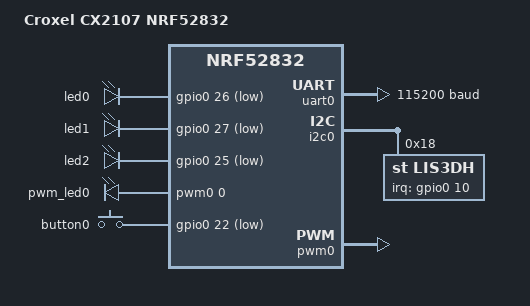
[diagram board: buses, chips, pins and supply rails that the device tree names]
/*
 * Copyright (c) 2017 Shawn Nock <shawn@monadnock.ca>
 * Copyright (c) 2017 Linaro Limited
 *
 * SPDX-License-Identifier: Apache-2.0
 */

/dts-v1/;
#include <nordic/nrf52832_qfaa.dtsi>
#include "croxel_cx2107_nrf52832-pinctrl.dtsi"
#include <zephyr/dt-bindings/input/input-event-codes.h>

/ {
	model = "Croxel CX2107 NRF52832";
	compatible = "croxel,cx2107-nrf52832";

	chosen {
		zephyr,sram = &sram0;
		zephyr,flash = &flash0;
		zephyr,code-partition = &slot0_partition;
	};

	leds {
		compatible = "gpio-leds";
		led0: led_0 {
			gpios = <&gpio0 26 GPIO_ACTIVE_LOW>;
		};
		led1: led_1 {
			gpios = <&gpio0 27 GPIO_ACTIVE_LOW>;
		};
		led2: led_2 {
			gpios = <&gpio0 25 GPIO_ACTIVE_LOW>;
		};
	};

	pwmleds {
		compatible = "pwm-leds";
		pwm_led0: pwm_led_0 {
			pwms = <&pwm0 0 PWM_MSEC(20) PWM_POLARITY_INVERTED>;
		};
	};

	buttons {
		compatible = "gpio-keys";
		button0: button_0 {
			gpios = <&gpio0 22 (GPIO_PULL_UP | GPIO_ACTIVE_LOW)>;
			zephyr,code = <INPUT_KEY_0>;
		};
	};

	/* These aliases are provided for compatibility with samples */
	aliases {
		led0 = &led0;
		led1 = &led1;
		led2 = &led2;
		pwm-led0 = &pwm_led0;
		sw0 = &button0;
		bootloader-led0 = &led0;
		mcuboot-button0 = &button0;
		mcuboot-led0 = &led0;
		watchdog0 = &wdt0;
	};
};

&reg {
	regulator-initial-mode = <NRF5X_REG_MODE_DCDC>;
};

&uicr {
	gpio-as-nreset;
};

&gpiote {
	status = "okay";
};

&gpio0 {
	status = "okay";
};

&uart0 {
	status = "okay";
	compatible = "nordic,nrf-uarte";
	current-speed = <115200>;
	pinctrl-0 = <&uart0_default>;
	pinctrl-1 = <&uart0_sleep>;
	pinctrl-names = "default", "sleep";
};

&i2c0 {
	compatible = "nordic,nrf-twi";
	status = "okay";
	pinctrl-0 = <&i2c0_default>;
	pinctrl-1 = <&i2c0_sleep>;
	pinctrl-names = "default", "sleep";

	lis3dh: lis3dh@18 {
		compatible = "st,lis3dh", "st,lis2dh";
		status = "okay";
		reg = <0x18>;
		irq-gpios = <&gpio0 10 GPIO_ACTIVE_HIGH>;
	};
};

&pwm0 {
	status = "okay";
	pinctrl-0 = <&pwm0_default>;
	pinctrl-1 = <&pwm0_sleep>;
	pinctrl-names = "default", "sleep";
};

&flash0 {

	partitions {
		compatible = "fixed-partitions";
		#address-cells = <1>;
		#size-cells = <1>;

		boot_partition: partition@0 {
			label = "mcuboot";
			reg = <0x00000000 0xc000>;
		};
		slot0_partition: partition@c000 {
			label = "image-0";
			reg = <0x0000C000 0x37000>;
		};
		slot1_partition: partition@43000 {
			label = "image-1";
			reg = <0x00043000 0x37000>;
		};
		storage_partition: partition@7a000 {
			label = "storage";
			reg = <0x0007a000 0x00006000>;
		};
	};
};
